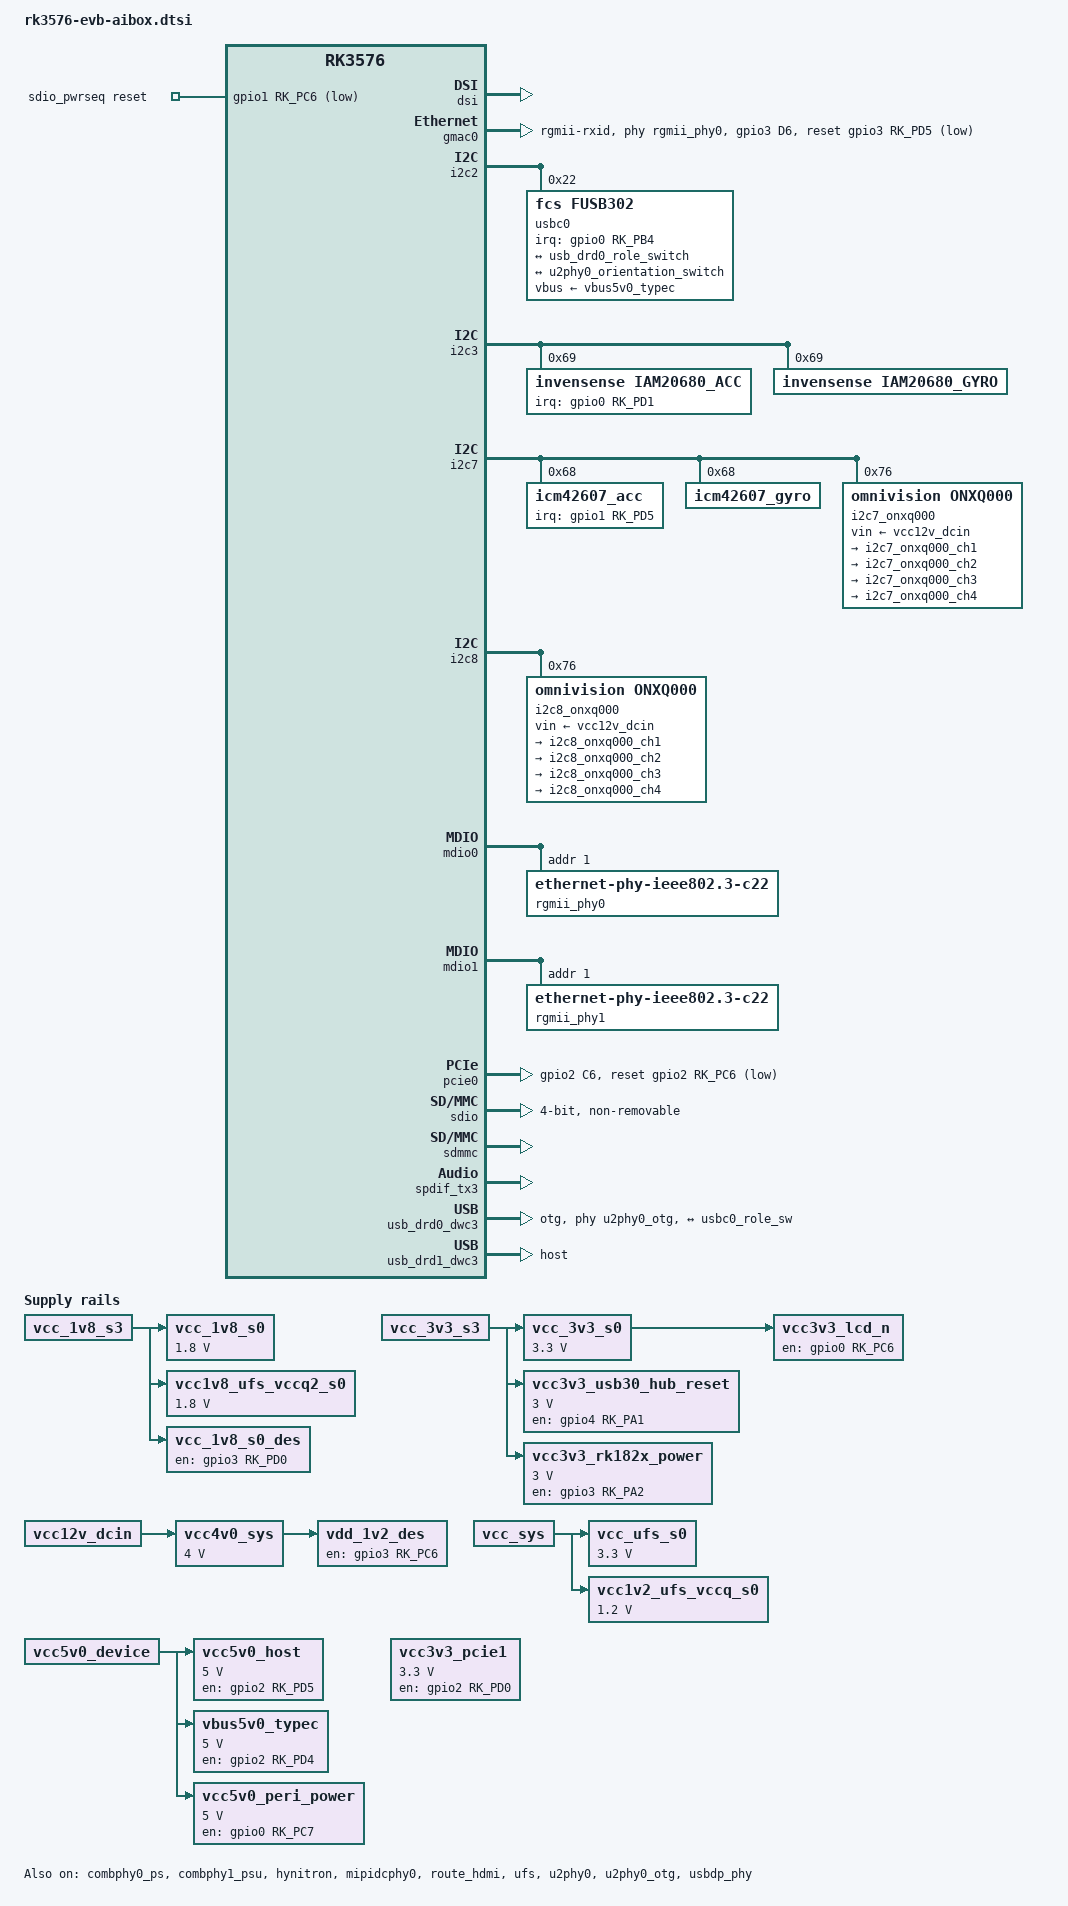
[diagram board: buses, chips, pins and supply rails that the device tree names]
// SPDX-License-Identifier: (GPL-2.0+ OR MIT)
/*
 * Copyright (c) 2026 Rockchip Electronics Co., Ltd.
 *
 */

#include <dt-bindings/usb/pd.h>
#include "rk3576-evb.dtsi"
#include "rk3576-rk806.dtsi"

/ {
	sdio_pwrseq: sdio-pwrseq {
		compatible = "mmc-pwrseq-simple";
		pinctrl-names = "default";
		pinctrl-0 = <&wifi_poweren_gpio>;

		/*
		 * On the module itself this is one of these (depending
		 * on the actual card populated):
		 * - SDIO_RESET_L_WL_REG_ON
		 * - PDN (power down when low)
		 */
		post-power-on-delay-ms = <200>;
		reset-gpios = <&gpio1 RK_PC6 GPIO_ACTIVE_LOW>;
		status = "okay";
	};

	vcc_1v8_s0: vcc-1v8-s0 {
		compatible = "regulator-fixed";
		regulator-name = "vcc_1v8_s0";
		regulator-boot-on;
		regulator-always-on;
		regulator-min-microvolt = <1800000>;
		regulator-max-microvolt = <1800000>;
		vin-supply = <&vcc_1v8_s3>;
	};

	vcc_3v3_s0: vcc-3v3-s0 {
		compatible = "regulator-fixed";
		regulator-name = "vcc_3v3_s0";
		regulator-boot-on;
		regulator-always-on;
		regulator-min-microvolt = <3300000>;
		regulator-max-microvolt = <3300000>;
		vin-supply = <&vcc_3v3_s3>;
	};

	vcc4v0_sys: vcc4v0-sys {
		compatible = "regulator-fixed";
		regulator-name = "vcc4v0_sys";
		regulator-boot-on;
		regulator-always-on;
		regulator-min-microvolt = <4000000>;
		regulator-max-microvolt = <4000000>;
		vin-supply = <&vcc12v_dcin>;
	};

	vcc_ufs_s0: vcc-ufs-s0 {
		compatible = "regulator-fixed";
		regulator-name = "vcc_ufs_s0";
		regulator-boot-on;
		regulator-always-on;
		regulator-min-microvolt = <3300000>;
		regulator-max-microvolt = <3300000>;
		vin-supply = <&vcc_sys>;
	};

	vcc1v8_ufs_vccq2_s0: vcc1v8-ufs-vccq2-s0 {
		compatible = "regulator-fixed";
		regulator-name = "vcc1v8_ufs_vccq2_s0";
		regulator-boot-on;
		regulator-always-on;
		regulator-min-microvolt = <1800000>;
		regulator-max-microvolt = <1800000>;
		vin-supply = <&vcc_1v8_s3>;
	};

	vcc1v2_ufs_vccq_s0: vcc1v2-ufs-vccq-s0 {
		compatible = "regulator-fixed";
		regulator-name = "vcc1v2_ufs_vccq_s0";
		regulator-boot-on;
		regulator-always-on;
		regulator-min-microvolt = <1200000>;
		regulator-max-microvolt = <1200000>;
		vin-supply = <&vcc_sys>;
	};

	vcc3v3_lcd_n: vcc3v3-lcd0-n {
		compatible = "regulator-fixed";
		regulator-name = "vcc3v3_lcd0_n";
		regulator-boot-on;
		enable-active-high;
		gpio = <&gpio0 RK_PC6 GPIO_ACTIVE_HIGH>;
		vin-supply = <&vcc_3v3_s0>;
	};

	vcc3v3_pcie1: vcc3v3-pcie1 {
		compatible = "regulator-fixed";
		regulator-name = "vcc3v3_pcie1";
		regulator-min-microvolt = <3300000>;
		regulator-max-microvolt = <3300000>;
		enable-active-high;
		gpios = <&gpio2 RK_PD0 GPIO_ACTIVE_HIGH>;
		pinctrl-names = "default";
		pinctrl-0 = <&rk182x_b_pwren>;
	};

	vcc5v0_host: vcc5v0-host {
		compatible = "regulator-fixed";
		regulator-name = "vcc5v0_host";
		regulator-boot-on;
		regulator-always-on;
		regulator-min-microvolt = <5000000>;
		regulator-max-microvolt = <5000000>;
		enable-active-high;
		gpio = <&gpio2 RK_PD5 GPIO_ACTIVE_HIGH>;
		vin-supply = <&vcc5v0_device>;
		pinctrl-names = "default";
		pinctrl-0 = <&usb_host_pwren>;
	};

	vbus5v0_typec: vbus5v0-typec {
		compatible = "regulator-fixed";
		regulator-name = "vbus5v0_typec";
		regulator-min-microvolt = <5000000>;
		regulator-max-microvolt = <5000000>;
		enable-active-high;
		gpio = <&gpio2 RK_PD4 GPIO_ACTIVE_HIGH>;
		vin-supply = <&vcc5v0_device>;
		pinctrl-names = "default";
		pinctrl-0 = <&usb_otg0_pwren>;
	};

	vcc5v0_peri_power: vcc5v0-peri-power {
		compatible = "regulator-fixed";
		regulator-name = "vcc5v0_peri_power";
		regulator-boot-on;
		regulator-always-on;
		regulator-min-microvolt = <5000000>;
		regulator-max-microvolt = <5000000>;
		enable-active-high;
		gpio = <&gpio0 RK_PC7 GPIO_ACTIVE_HIGH>;
		vin-supply = <&vcc5v0_device>;
		pinctrl-names = "default";
		pinctrl-0 = <&peri_pwren>;
	};

	vcc3v3_usb30_hub_reset: vcc3v3-usb30-hub-reset {
		compatible = "regulator-fixed";
		regulator-name = "vcc3v3_usb30_hub_reset";
		regulator-boot-on;
		regulator-always-on;
		regulator-min-microvolt = <3000000>;
		regulator-max-microvolt = <3000000>;
		enable-active-high;
		gpio = <&gpio4 RK_PA1 GPIO_ACTIVE_HIGH>;
		vin-supply = <&vcc_3v3_s3>;
		pinctrl-names = "default";
		pinctrl-0 = <&usb30_hub_reset>;
	};

	vcc3v3_rk182x_power: vcc3v3-rk182x-power {
		compatible = "regulator-fixed";
		regulator-name = "vcc3v3_rk182x_power";
		regulator-boot-on;
		regulator-always-on;
		regulator-min-microvolt = <3000000>;
		regulator-max-microvolt = <3000000>;
		enable-active-high;
		gpio = <&gpio3 RK_PA2 GPIO_ACTIVE_HIGH>;
		vin-supply = <&vcc_3v3_s3>;
		pinctrl-names = "default";
		pinctrl-0 = <&rk182x_pwren>;
	};

	vcc_1v8_s0_des: vcc-1v8-s0-des-regulator {
		compatible = "regulator-fixed";
		regulator-name = "vcc_1v8_s0_des";
		gpio = <&gpio3 RK_PD0 GPIO_ACTIVE_HIGH>;
		pinctrl-names = "default";
		pinctrl-0 = <&vcc_1v8_s0_des_pwr>;
		enable-active-high;
		vin-supply = <&vcc_1v8_s3>;
	};

	vdd_1v2_des: vcc-1v2-des-regulator {
		compatible = "regulator-fixed";
		regulator-name = "vdd_1v2_des";
		gpio = <&gpio3 RK_PC6 GPIO_ACTIVE_HIGH>;
		pinctrl-names = "default";
		pinctrl-0 = <&vdd_1v2_des_pwr>;
		enable-active-high;
		vin-supply = <&vcc4v0_sys>;
	};
};

&combphy0_ps {
	status = "okay";
};

&combphy1_psu {
	status = "okay";
};

/*
 * mipidcphy0 needs to be enabled
 * when dsi is enabled
 */
&dsi {
	status = "okay";
};

&dsi_panel {
	power-supply = <&vcc3v3_lcd_n>;
};

&gmac0 {
	/* Use rgmii-rxid mode to disable rx delay inside Soc */
	phy-mode = "rgmii-rxid";
	clock_in_out = "output";

	snps,reset-gpio = <&gpio3 RK_PD5 GPIO_ACTIVE_LOW>;
	snps,reset-active-low;
	/* Reset time is 20ms, 100ms for rtl8211f */
	snps,reset-delays-us = <0 20000 100000>;

	pinctrl-names = "default";
	pinctrl-0 = <&eth0m0_miim
		     &eth0m0_tx_bus2
		     &eth0m0_rx_bus2
		     &eth0m0_rgmii_clk
		     &eth0m0_rgmii_bus
		     &ethm0_clk0_25m_out
		     &phydisb>;

	tx_delay = <0x21>;
	/* rx_delay = <0x3f>; */

	phy-handle = <&rgmii_phy0>;
	status = "okay";
};

&gmac1 {
	status = "disabled";
};

&hdmi_sound {
	status = "disabled";
};

&hynitron {
	status = "okay";
	power-supply = <&vcc3v3_lcd_n>;
};

&i2c2 {
	status = "okay";

	usbc0: fusb302@22 {
		compatible = "fcs,fusb302";
		reg = <0x22>;
		interrupt-parent = <&gpio0>;
		interrupts = <RK_PB4 IRQ_TYPE_LEVEL_LOW>;
		pinctrl-names = "default";
		pinctrl-0 = <&usbc0_int>;
		vbus-supply = <&vbus5v0_typec>;
		status = "okay";

		port {
			usbc0_role_sw: endpoint {
				remote-endpoint = <&usb_drd0_role_switch>;
			};
		};

		usb_con: connector {
			compatible = "usb-c-connector";
			label = "USB-C";
			data-role = "dual";
			power-role = "dual";
			try-power-role = "sink";
			op-sink-microwatt = <1000000>;
			sink-pdos =
				<PDO_FIXED(5000, 1000, PDO_FIXED_USB_COMM)>;
			source-pdos =
				<PDO_FIXED(5000, 3000, PDO_FIXED_USB_COMM)>;

			port {
				usbc0_orien_sw: endpoint {
					remote-endpoint = <&u2phy0_orientation_switch>;
				};
			};
		};
	};
};

&i2c3 {
	status = "okay";
	iam20680_acc: iam20680_acc@69 {
		status = "okay";
		compatible = "invensense,iam20680_acc";
		reg = <0x69>;
		irq-gpio = <&gpio0 RK_PD1 IRQ_TYPE_EDGE_RISING>;
		irq_enable = <0>;
		poll_delay_ms = <30>;
		type = <SENSOR_TYPE_ACCEL>;
		layout = <4>;
	};

	iam20680_gyro: iam20680_gyro@69 {
		status = "okay";
		compatible = "invensense,iam20680_gyro";
		reg = <0x69>;
		poll_delay_ms = <30>;
		type = <SENSOR_TYPE_GYROSCOPE>;
		layout = <4>;
	};
};

&i2c7 {
	status = "okay";
	pinctrl-names = "default";
	pinctrl-0 = <&i2c7m1_xfer>;


	icm42607_acc: icm_acc@68 {
		status = "okay";
		compatible = "icm42607_acc";
		reg = <0x68>;
		irq-gpio = <&gpio1 RK_PD5 IRQ_TYPE_EDGE_RISING>;
		irq_enable = <0>;
		poll_delay_ms = <30>;
		type = <SENSOR_TYPE_ACCEL>;
		layout = <4>;
	};

	icm42607_gyro: icm_gyro@68 {
		status = "okay";
		compatible = "icm42607_gyro";
		reg = <0x68>;
		poll_delay_ms = <30>;
		type = <SENSOR_TYPE_GYROSCOPE>;
		layout = <4>;
	};

	i2c7_onxq000: onxq000-regulator@76 {
		compatible = "omnivision,onxq000";
		status = "okay";
		reg = <0x76>;
		vin-supply = <&vcc12v_dcin>;

		regulators {
			i2c7_onxq000_ch1: out1 {
				regulator-name = "i2c7_onxq000_ch1";
			};

			i2c7_onxq000_ch2: out2 {
				regulator-name = "i2c7_onxq000_ch2";
			};

			i2c7_onxq000_ch3: out3 {
				regulator-name = "i2c7_onxq000_ch3";
			};

			i2c7_onxq000_ch4: out4 {
				regulator-name = "i2c7_onxq000_ch4";
			};
		};
	};
};

&i2c8 {
	status = "okay";
	pinctrl-names = "default";
	pinctrl-0 = <&i2c8m2_xfer>;

	i2c8_onxq000: onxq000-regulator@76 {
		compatible = "omnivision,onxq000";
		status = "okay";
		reg = <0x76>;
		vin-supply = <&vcc12v_dcin>;

		regulators {
			i2c8_onxq000_ch1: out1 {
				regulator-name = "i2c8_onxq000_ch1";
			};

			i2c8_onxq000_ch2: out2 {
				regulator-name = "i2c8_onxq000_ch2";
			};

			i2c8_onxq000_ch3: out3 {
				regulator-name = "i2c8_onxq000_ch3";
			};

			i2c8_onxq000_ch4: out4 {
				regulator-name = "i2c8_onxq000_ch4";
			};
		};
	};

};

&mdio0 {
	rgmii_phy0: phy@1 {
		compatible = "ethernet-phy-ieee802.3-c22";
		reg = <0x1>;
		clocks = <&cru REFCLKO25M_GMAC0_OUT>;
	};
};

&mdio1 {
	rgmii_phy1: phy@1 {
		compatible = "ethernet-phy-ieee802.3-c22";
		reg = <0x1>;
		clocks = <&cru REFCLKO25M_GMAC1_OUT>;
	};
};

&mipidcphy0 {
	status = "okay";
};

&pcie0 {
	reset-gpios = <&gpio2 RK_PC6 GPIO_ACTIVE_LOW>;
	pinctrl-names = "default";
	pinctrl-0 = <&pcie0_perstn_a>;
	pcie3v3-supply = <&vcc3v3_rk182x_power>;
	status = "okay";
};

&pcie1 {
	reset-gpios = <&gpio2 RK_PD2 GPIO_ACTIVE_LOW>;
	pinctrl-names = "default";
	pinctrl-0 = <&pcie1_perstn_a>;
	rockchip,wait-for-link-ms = <2000000>;
	vpcie3v3-supply = <&vcc3v3_pcie1>;
	status = "disabled";
};

&pinctrl {
	cam {
		vcc_1v8_s0_des_pwr: vcc-1v8-s0-des-pwr {
			rockchip,pins = <3 RK_PD0 RK_FUNC_GPIO &pcfg_output_low>;
		};

		vdd_1v2_des_pwr: vdd-1v2-des-pwr {
			rockchip,pins = <3 RK_PC6 RK_FUNC_GPIO &pcfg_output_low>;
		};
	};

	headphone {
		hp_det: hp-det {
			rockchip,pins = <0 RK_PD3 RK_FUNC_GPIO &pcfg_pull_up>;
		};
	};

	gmac0 {
		phydisb: phydisb {
			rockchip,pins = <3 RK_PD6 RK_FUNC_GPIO &pcfg_output_high>;
		};
	};

	usb {
		usb_host_pwren: usb-host-pwren {
			rockchip,pins = <2 RK_PD5 RK_FUNC_GPIO &pcfg_pull_none>;
		};

		usb30_hub_reset: usb30-hub-reset {
			rockchip,pins = <4 RK_PA1 RK_FUNC_GPIO &pcfg_pull_none>;
		};

		peri_pwren: peri-pwren {
			rockchip,pins = <0 RK_PC7 RK_FUNC_GPIO &pcfg_pull_none>;
		};

		usb_otg0_pwren: usb-otg0-pwren {
			rockchip,pins = <2 RK_PD4 RK_FUNC_GPIO &pcfg_pull_none>;
		};

		usbc0_int: usbc0-int {
			rockchip,pins = <0 RK_PB4 RK_FUNC_GPIO &pcfg_pull_up>;
		};
	};

	rk182x {
		rk182x_pwren: rk182x-pwren {
			rockchip,pins = <3 RK_PA2 RK_FUNC_GPIO &pcfg_pull_none>;
		};
		pcie0_perstn_a: pcie0-perstn-a {
			rockchip,pins = <2 RK_PC6 RK_FUNC_GPIO &pcfg_pull_up>;
		};
		rk182x_b_pwren: rk182x-b-pwren {
			rockchip,pins = <2 RK_PD0 RK_FUNC_GPIO &pcfg_pull_none>;
		};
		pcie1_perstn_a: pcie1-perstn-a {
			rockchip,pins = <2 RK_PD2 RK_FUNC_GPIO &pcfg_pull_up>;
		};
	};

	wireless-bluetooth {
		uart4_gpios: uart4-gpios {
			rockchip,pins = <1 RK_PC7 RK_FUNC_GPIO &pcfg_pull_none>;
		};
	};

	wireless-wlan {
		wifi_host_wake_irq: wifi-host-wake-irq {
			rockchip,pins = <0 RK_PB0 RK_FUNC_GPIO &pcfg_pull_down>;
		};

		wifi_poweren_gpio: wifi-poweren-gpio {
			rockchip,pins = <1 RK_PC6 RK_FUNC_GPIO &pcfg_pull_up>;
		};
	};
};

&route_hdmi {
	status = "okay";
	connect = <&vp0_out_hdmi>;
};

&sdio {
	max-frequency = <200000000>;
	no-sd;
	no-mmc;
	bus-width = <4>;
	disable-wp;
	cap-sd-highspeed;
	cap-sdio-irq;
	keep-power-in-suspend;
	mmc-pwrseq = <&sdio_pwrseq>;
	non-removable;
	pinctrl-names = "default";
	pinctrl-0 = <&sdmmc1m0_bus4 &sdmmc1m0_clk &sdmmc1m0_cmd>;
	sd-uhs-sdr104;
	status = "okay";
};

&sdmmc {
	status = "okay";
};

&spdif_tx3 {
	status = "okay";
};

&ufs {
	vcc-supply = <&vcc_ufs_s0>;
	vccq-supply = <&vcc1v2_ufs_vccq_s0>;
	vccq2-supply = <&vcc1v8_ufs_vccq2_s0>;
	status = "okay";
};

&u2phy0 {
	orientation-switch;
	status = "okay";

	port {
		#address-cells = <1>;
		#size-cells = <0>;

		u2phy0_orientation_switch: endpoint {
			remote-endpoint = <&usbc0_orien_sw>;
		};
	};
};

&u2phy0_otg {
	rockchip,sel-pipe-phystatus;
	rockchip,typec-vbus-det;
	rockchip,dis-u2-susphy;
	status = "okay";
};

&u2phy1_otg {
	phy-supply = <&vcc5v0_host>;
};

&usbdp_phy {
	status = "okay";
};

&usb_drd0_dwc3 {
	dr_mode = "otg";
	status = "okay";
	maximum-speed = "high-speed";
	phys = <&u2phy0_otg>;
	phy-names = "usb2-phy";
	usb-role-switch;
	snps,dis_u2_susphy_quirk;
	snps,usb2-lpm-disable;
	port {
		usb_drd0_role_switch: endpoint {
			remote-endpoint = <&usbc0_role_sw>;
		};
	};
};

&usb_drd1_dwc3 {
	dr_mode = "host";
	status = "okay";
};
